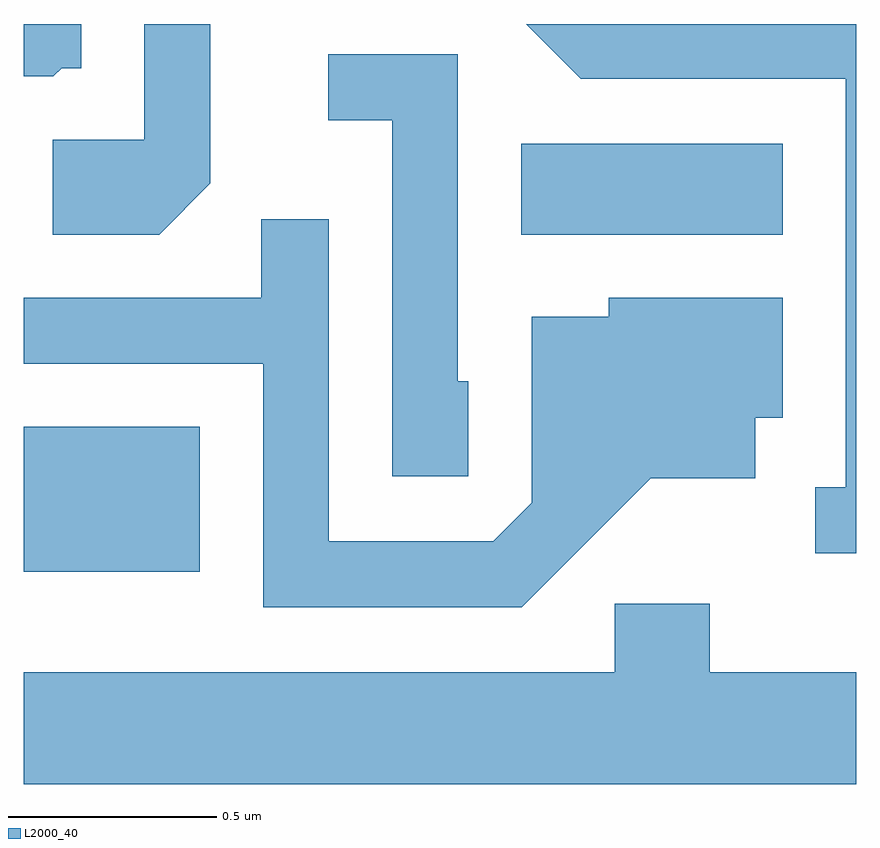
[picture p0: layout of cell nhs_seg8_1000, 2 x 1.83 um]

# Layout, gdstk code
import gdstk
lib = gdstk.Library(unit=1e-6, precision=1e-09)
def R(c, l, rs):  # rectangles x0, y0, x1, y1
    for r in rs: c.add(gdstk.rectangle(r[:2], r[2:], *l))
def P(c, l, *ps):  # polygons
    for p in ps: c.add(gdstk.Polygon(p, *l))
L2000_40 = (2000, 40)

nhs_seg8_1000 = lib.new_cell('nhs_seg8_1000')
R(nhs_seg8_1000, L2000_40, [(192.611,1848.026,193.034,1848.374), (193.806,1848.836,194.434,1849.054)])
P(nhs_seg8_1000, L2000_40, [(193.059,1848.959),(193.059,1849.342),(192.901,1849.342),(192.901,1849.064),(192.681,1849.064),(192.681,1848.836),(192.937,1848.836)],
  [(194.611,1849.342),(193.818,1849.342),(193.949,1849.211),(194.586,1849.211),(194.586,1848.229),(194.513,1848.229),(194.513,1848.071),(194.611,1848.071)],
  [(192.702,1849.236),(192.749,1849.236),(192.749,1849.342),(192.611,1849.342),(192.611,1849.216),(192.682,1849.216)],
  [(193.679,1848.484),(193.654,1848.484),(193.654,1849.269),(193.343,1849.269),(193.343,1849.111),(193.496,1849.111),(193.496,1848.256),(193.679,1848.256)],
  [(194.117,1848.251),(194.369,1848.251),(194.369,1848.396),(194.434,1848.396),(194.434,1848.684),(194.016,1848.684),(194.016,1848.639),(193.831,1848.639),(193.831,1848.192),(193.739,1848.099),(193.344,1848.099),(193.344,1848.873),(193.181,1848.873),(193.181,1848.684),(192.611,1848.684),(192.611,1848.526),(193.186,1848.526),(193.186,1847.941),(193.807,1847.941)],
  [(194.611,1847.784),(194.259,1847.784),(194.259,1847.949),(194.031,1847.949),(194.031,1847.784),(192.611,1847.784),(192.611,1847.516),(194.611,1847.516)])

lib.write_gds('nhs_seg8_1000.gds')
